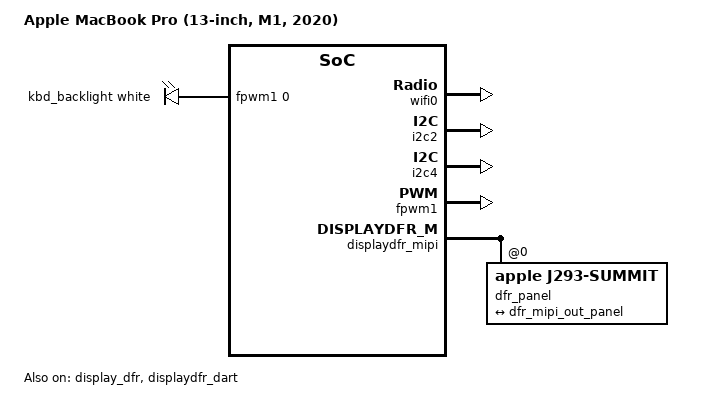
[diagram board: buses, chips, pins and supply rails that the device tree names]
// SPDX-License-Identifier: GPL-2.0+ OR MIT
/*
 * Apple MacBook Pro (13-inch, M1, 2020)
 *
 * target-type: J293
 *
 * Copyright The Asahi Linux Contributors
 */

/dts-v1/;

#include "t8103.dtsi"
#include "t8103-jxxx.dtsi"
#include <dt-bindings/leds/common.h>

/ {
	compatible = "apple,j293", "apple,t8103", "apple,arm-platform";
	model = "Apple MacBook Pro (13-inch, M1, 2020)";

	led-controller {
		compatible = "pwm-leds";
		led-0 {
			pwms = <&fpwm1 0 40000>;
			label = "kbd_backlight";
			function = LED_FUNCTION_KBD_BACKLIGHT;
			color = <LED_COLOR_ID_WHITE>;
			max-brightness = <255>;
			default-state = "keep";
		};
	};
};

&bluetooth0 {
	brcm,board-type = "apple,honshu";
};

&wifi0 {
	brcm,board-type = "apple,honshu";
};

&i2c2 {
	status = "okay";
};

&i2c4 {
	status = "okay";
};

&fpwm1 {
	status = "okay";
};

&display_dfr {
	status = "okay";
};

&dfr_mipi_out {
	dfr_mipi_out_panel: endpoint@0 {
		reg = <0>;
		remote-endpoint = <&dfr_panel_in>;
	};
};

&displaydfr_mipi {
	status = "okay";

	dfr_panel: panel@0 {
		compatible = "apple,j293-summit", "apple,summit";
		reg = <0>;
		max-brightness = <255>;

		port {
			dfr_panel_in: endpoint {
				remote-endpoint = <&dfr_mipi_out_panel>;
			};
		};
	};
};

&displaydfr_dart {
	status = "okay";
};
